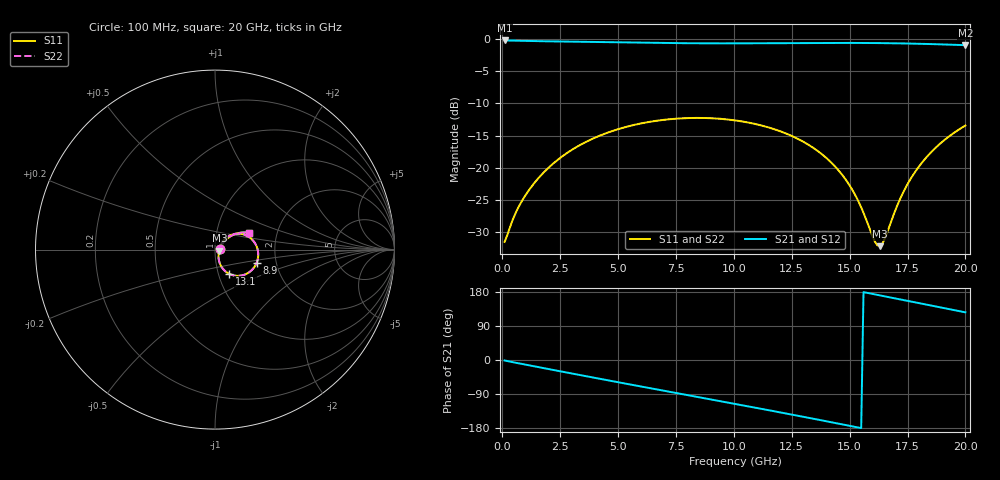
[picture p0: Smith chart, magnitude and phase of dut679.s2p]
! Touchstone file exported from HFSS 2026.1.0
!  File:  C:/ffzhzh/LocalFiles/Ansys_Project_Files/temp_train_TSV_RDL_679_1783133577_50312.aedt
!  Generated:  10:59:56 AM Jul  4, 2026
!  Design:  TSV_RDL
!  Project:  temp_train_TSV_RDL_679_1783133577_50312
! Variables:
!  h_bsmrdl = 2.46um
!  h_ox = 20um
!  h_rdl = 5um
!  h_sub = 60.07um
!  h_tmrdl = 3.07um
!  h_tsv = 60.07um
!  h_via = 3um
!  l_bsmrdl = 879.03um
!  l_sub = 3610.49um
!  l_tmrdl = 111.04um
!  m_sub = 200um
!  pitch = 29.11um
!  r_tsv = 11.89um
!  s_tmrdl = 10um
!  w_bsmrdl = 16.24um
!  w_sub = 500um
!  w_tmrdl = 26.84um
!  x_tsv_center1 = 124.46um
!  x_tsv_center2 = 1019.73um
!  x_tsv_center3 = 1157.61um
!  x_tsv_center4 = 2052.88um
!  x_tsv_center5 = 2190.76um
!  x_tsv_center6 = 3086.03um
# GHz S MA R 50.000000
! Terminal data exported
! Port[1] = TM_RDL1_1_T1
! Port[2] = TM_RDL5_1_T1
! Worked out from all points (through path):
!   200 points, 100 MHz to 20 GHz, reference 50 ohm
!   highest |S21| = -0.23 dB at 100 MHz (marker M1); lowest = -1.0 dB at 20 GHz (marker M2)
!   group delay of S21, straight-line fit = 32.2 ps
!   lowest |S11| = -32.1 dB at 16.3 GHz (marker M3), VSWR 1.05, Z = 52.5 - j0.553 ohm
!   |S11| at or under -10 dB: start of sweep to end of sweep
!   |S22| runs from -32.3 to -12.2 dB; largest |S21 - S12| = 1.7e-14
!   S11 on the Smith chart (normalised r, x): 100 MHz: 1.05, +0.01; 8.9 GHz: 1.58, -0.25; 13.1 GHz: 1.12, -0.31; 20 GHz: 1.44, +0.28
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0.1  0.02666 12.9  0.9741 -1.3  0.9741 -1.3  0.02666 12.9
! Gamma 0 0 0 0
! Port Impedance 50 0 50 0
0.7  0.04959 41.6  0.9675 -8.7  0.9675 -8.7  0.04959 41.6
1.4  0.07701 46.2  0.9625 -16.9  0.9625 -16.9  0.07701 46.2
2.3  0.112 43.7  0.9573 -27.4  0.9573 -27.4  0.112 43.7
3.5  0.1553 35.1  0.95 -41.4  0.95 -41.4  0.1553 35.1
5.2  0.2046 19.3  0.9393 -61.0  0.9393 -61.0  0.2045 19.3
6.8  0.2339 3.3  0.931 -79.1  0.931 -79.1  0.2338 3.3
8.9  0.2434 -18.1  0.9253 -102.8  0.9253 -102.8  0.2433 -18.1
10.1  0.233 -30.4  0.9252 -116.4  0.9252 -116.4  0.233 -30.4
11.6  0.2035 -45.5  0.9274 -133.6  0.9274 -133.6  0.2034 -45.6
13.1  0.1558 -59.8  0.9307 -151.1  0.9307 -151.1  0.1557 -59.9
13.4  0.1442 -62.4  0.9313 -154.6  0.9313 -154.6  0.1441 -62.5
14.2  0.1104 -68.3  0.9323 -164.1  0.9323 -164.1  0.1103 -68.4
14.9  0.07792 -70.6  0.9324 -172.5  0.9324 -172.5  0.07775 -70.9
15.4  0.05408 -67.6  0.9319 -178.5  0.9319 -178.5  0.05384 -68.0
16.1  0.02664 -34.9  0.9301 173.0  0.9301 173.0  0.02617 -35.2
16.3  0.02471 -12.3  0.9294 170.6  0.9294 170.6  0.02421 -12.1
16.7  0.03444 24.5  0.9275 165.8  0.9275 165.8  0.03409 25.2
17.3  0.06383 40.7  0.9238 158.4  0.9238 158.4  0.06364 41.2
18  0.1028 41.5  0.9182 149.9  0.9182 149.9  0.1027 41.8
18.9  0.1537 35.8  0.909 139.0  0.909 139.0  0.1537 36.1
20  0.2131 26.0  0.8956 125.8  0.8956 125.8  0.213 26.2
